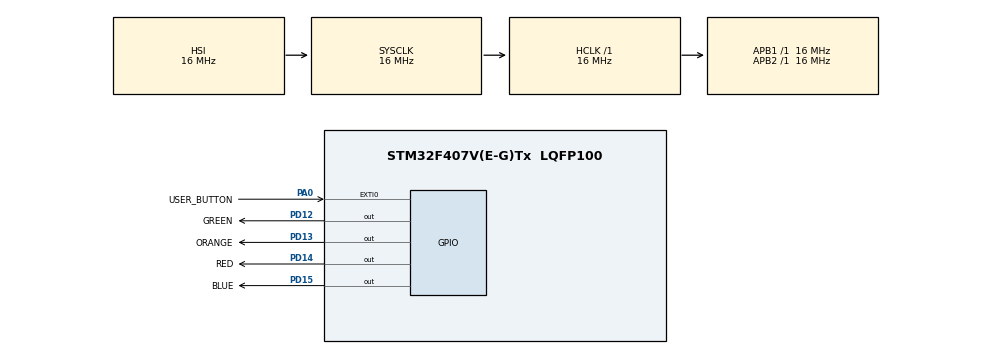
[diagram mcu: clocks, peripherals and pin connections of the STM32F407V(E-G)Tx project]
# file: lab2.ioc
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Mcu.Family=STM32F4
Mcu.Name=STM32F407V(E-G)Tx
Mcu.Package=LQFP100
NVIC.EXTI0_IRQn=true\:0\:0\:false\:false\:true\:true\:true\:true
NVIC.PriorityGroup=NVIC_PRIORITYGROUP_4
PA0-WKUP.GPIO_Label=USER_BUTTON
PA0-WKUP.Signal=GPXTI0
PD12.GPIO_Label=GREEN
PD12.Signal=GPIO_Output
PD13.GPIO_Label=ORANGE
PD13.Signal=GPIO_Output
PD14.GPIO_Label=RED
PD14.Signal=GPIO_Output
PD15.GPIO_Label=BLUE
PD15.Signal=GPIO_Output
ProjectManager.HeapSize=0x200
ProjectManager.StackSize=0x400
ProjectManager.TargetToolchain=STM32CubeIDE
RCC.AHBFreq_Value=16000000
RCC.APB1Freq_Value=16000000
RCC.APB2Freq_Value=16000000
RCC.CortexFreq_Value=16000000
RCC.HSE_VALUE=25000000
RCC.HSI_VALUE=16000000
RCC.LSE_VALUE=32768
RCC.SYSCLKFreq_VALUE=16000000
RCC.VCOOutputFreq_Value=192000000
board=custom

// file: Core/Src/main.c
/* USER CODE BEGIN Header */
/**
  ******************************************************************************
  * @file           : main.c
  * @brief          : Main program body
  ******************************************************************************
  * @attention
  *
  * Copyright (c) 2024 STMicroelectronics.
  * All rights reserved.
  *
  * This software is licensed under terms that can be found in the LICENSE file
  * in the root directory of this software component.
  * If no LICENSE file comes with this software, it is provided AS-IS.
  *
  ******************************************************************************
  */
/* USER CODE END Header */
#include "main.h"

void SystemClock_Config(void);
static void MX_GPIO_Init(void);

/* USER CODE BEGIN 0 */

int configuration = 0;

void led_config_1() {
	HAL_GPIO_TogglePin(ORANGE_GPIO_Port, ORANGE_Pin);
	HAL_GPIO_TogglePin(GREEN_GPIO_Port, GREEN_Pin);
	HAL_GPIO_TogglePin(RED_GPIO_Port, RED_Pin);
	HAL_GPIO_TogglePin(BLUE_GPIO_Port, BLUE_Pin);
	HAL_Delay(150);
}

void led_config_2() {
	HAL_GPIO_WritePin(ORANGE_GPIO_Port, ORANGE_Pin, GPIO_PIN_SET);
	HAL_GPIO_WritePin(RED_GPIO_Port, RED_Pin, GPIO_PIN_SET);
	HAL_Delay(150);
	HAL_GPIO_WritePin(ORANGE_GPIO_Port, ORANGE_Pin, GPIO_PIN_RESET);
	HAL_GPIO_WritePin(BLUE_GPIO_Port, BLUE_Pin, GPIO_PIN_SET);
	HAL_GPIO_WritePin(GREEN_GPIO_Port, GREEN_Pin, GPIO_PIN_SET);
	HAL_Delay(150);
	HAL_GPIO_WritePin(BLUE_GPIO_Port, BLUE_Pin, GPIO_PIN_RESET);
	HAL_GPIO_WritePin(GREEN_GPIO_Port, GREEN_Pin, GPIO_PIN_RESET);
	HAL_Delay(100);
	HAL_GPIO_WritePin(RED_GPIO_Port, RED_Pin, GPIO_PIN_RESET);
}

void led_config_3() {
	static int num = 0;
	num = (num + 1) % 3;
	if (num == 0) {
		HAL_GPIO_TogglePin(ORANGE_GPIO_Port, ORANGE_Pin);
		HAL_GPIO_TogglePin(GREEN_GPIO_Port, GREEN_Pin);

	}
	if (num == 1) {
		HAL_GPIO_TogglePin(BLUE_GPIO_Port, BLUE_Pin);
		HAL_GPIO_TogglePin(GREEN_GPIO_Port, GREEN_Pin);
		HAL_GPIO_TogglePin(RED_GPIO_Port, RED_Pin);
	}
	if (num == 2) {
			HAL_GPIO_TogglePin(ORANGE_GPIO_Port, ORANGE_Pin);
			HAL_GPIO_TogglePin(GREEN_GPIO_Port, GREEN_Pin);
	}
	HAL_Delay(150);
}

typedef struct {
	GPIO_TypeDef * port;
	uint16_t pin;
} PortPin;

const PortPin led_configs[5][4] = {
    {
        {ORANGE_GPIO_Port, ORANGE_Pin},
        {GREEN_GPIO_Port, GREEN_Pin},
    },
    {
        {RED_GPIO_Port, RED_Pin},
        {ORANGE_GPIO_Port, ORANGE_Pin}
    },
    {
        {BLUE_GPIO_Port, BLUE_Pin},
        {RED_GPIO_Port, RED_Pin},
        {ORANGE_GPIO_Port, ORANGE_Pin},
    },
    {
        {RED_GPIO_Port, RED_Pin},
        {BLUE_GPIO_Port, BLUE_Pin}
    },
    {
        {GREEN_GPIO_Port, GREEN_Pin}
    }
};

size_t num_rows = sizeof(led_configs) / sizeof(led_configs[0]);
size_t num_columns = sizeof(led_configs[0]) / sizeof(led_configs[0][0]);

void led_config_4() {
	uint32_t tick = HAL_GetTick();
	size_t i = tick % num_columns;
	for (size_t j = 0; j < num_columns; j++) {
	    if (led_configs[i][j].port != NULL && led_configs[i][j].pin != 0) {
	        const PortPin led = led_configs[i][j];
	        HAL_GPIO_TogglePin(led.port, led.pin);
	    }
	}
	HAL_Delay(150);
}

void led_reset() {
	  HAL_GPIO_WritePin(BLUE_GPIO_Port, BLUE_Pin, GPIO_PIN_RESET);
	  HAL_GPIO_WritePin(ORANGE_GPIO_Port, ORANGE_Pin, GPIO_PIN_RESET);
	  HAL_GPIO_WritePin(RED_GPIO_Port, RED_Pin, GPIO_PIN_RESET);
	  HAL_GPIO_WritePin(GREEN_GPIO_Port, GREEN_Pin, GPIO_PIN_RESET);
}
/* USER CODE END 0 */

int main(void)
{

  /* MCU Configuration--------------------------------------------------------*/

  /* Reset of all peripherals, Initializes the Flash interface and the Systick. */
  HAL_Init();

  /* Configure the system clock */
  SystemClock_Config();

  /* Initialize all configured peripherals */
  MX_GPIO_Init();

  /* Infinite loop */
  /* USER CODE BEGIN WHILE */
  int prev = configuration;
  while (1)
  {
	if (prev != configuration) {
		led_reset();
		prev = configuration;
	}
	if (configuration == 0) led_config_1();
	if (configuration == 1) led_config_2();
	if (configuration == 2) led_config_3();
	if (configuration == 3) led_config_4();
    /* USER CODE END WHILE */

  }
}

void SystemClock_Config(void)
{
  RCC_OscInitTypeDef RCC_OscInitStruct = {0};
  RCC_ClkInitTypeDef RCC_ClkInitStruct = {0};

  /** Configure the main internal regulator output voltage
  */
  __HAL_RCC_PWR_CLK_ENABLE();
  __HAL_PWR_VOLTAGESCALING_CONFIG(PWR_REGULATOR_VOLTAGE_SCALE1);

  /** Initializes the RCC Oscillators according to the specified parameters
  * in the RCC_OscInitTypeDef structure.
  */
  RCC_OscInitStruct.OscillatorType = RCC_OSCILLATORTYPE_HSI;
  RCC_OscInitStruct.HSIState = RCC_HSI_ON;
  RCC_OscInitStruct.HSICalibrationValue = RCC_HSICALIBRATION_DEFAULT;
  RCC_OscInitStruct.PLL.PLLState = RCC_PLL_NONE;
  if (HAL_RCC_OscConfig(&RCC_OscInitStruct) != HAL_OK)
  {
    Error_Handler();
  }

  /** Initializes the CPU, AHB and APB buses clocks
  */
  RCC_ClkInitStruct.ClockType = RCC_CLOCKTYPE_HCLK|RCC_CLOCKTYPE_SYSCLK
                              |RCC_CLOCKTYPE_PCLK1|RCC_CLOCKTYPE_PCLK2;
  RCC_ClkInitStruct.SYSCLKSource = RCC_SYSCLKSOURCE_HSI;
  RCC_ClkInitStruct.AHBCLKDivider = RCC_SYSCLK_DIV1;
  RCC_ClkInitStruct.APB1CLKDivider = RCC_HCLK_DIV1;
  RCC_ClkInitStruct.APB2CLKDivider = RCC_HCLK_DIV1;

  if (HAL_RCC_ClockConfig(&RCC_ClkInitStruct, FLASH_LATENCY_0) != HAL_OK)
  {
    Error_Handler();
  }
}

static void MX_GPIO_Init(void)
{
  GPIO_InitTypeDef GPIO_InitStruct = {0};

  /* GPIO Ports Clock Enable */
  __HAL_RCC_GPIOA_CLK_ENABLE();
  __HAL_RCC_GPIOD_CLK_ENABLE();

  /*Configure GPIO pin Output Level */
  HAL_GPIO_WritePin(GPIOD, GREEN_Pin|ORANGE_Pin|RED_Pin|BLUE_Pin, GPIO_PIN_RESET);

  /*Configure GPIO pin : USER_BUTTON_Pin */
  GPIO_InitStruct.Pin = USER_BUTTON_Pin;
  GPIO_InitStruct.Mode = GPIO_MODE_IT_RISING;
  GPIO_InitStruct.Pull = GPIO_NOPULL;
  HAL_GPIO_Init(USER_BUTTON_GPIO_Port, &GPIO_InitStruct);

  /*Configure GPIO pins : GREEN_Pin ORANGE_Pin RED_Pin BLUE_Pin */
  GPIO_InitStruct.Pin = GREEN_Pin|ORANGE_Pin|RED_Pin|BLUE_Pin;
  GPIO_InitStruct.Mode = GPIO_MODE_OUTPUT_PP;
  GPIO_InitStruct.Pull = GPIO_NOPULL;
  GPIO_InitStruct.Speed = GPIO_SPEED_FREQ_LOW;
  HAL_GPIO_Init(GPIOD, &GPIO_InitStruct);

  /* EXTI interrupt init*/
  HAL_NVIC_SetPriority(EXTI0_IRQn, 0, 0);
  HAL_NVIC_EnableIRQ(EXTI0_IRQn);

}

void Error_Handler(void)
{
  __disable_irq();
  while (1)
  {
  }
}
